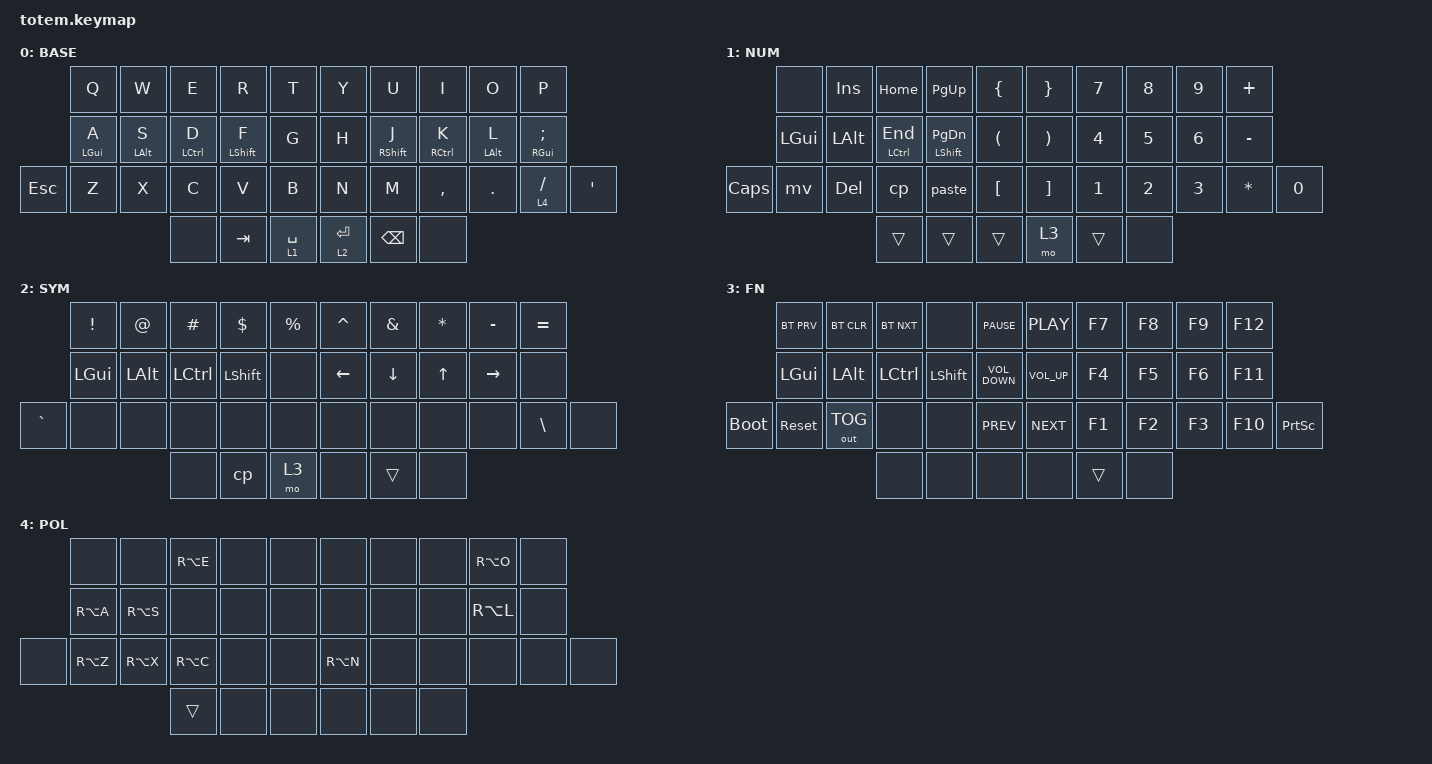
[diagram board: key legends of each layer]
//
//                                                        ▀▀▀▀▀     ▀▀▀▀▀          ▀▀█▀▀
//                                                        ▄▀▀▀▄  ▄  ▄▀▀▀▄  ▄  ▄▀▀▀▄  █  ▄▀▀▀▄
//                                                        █   █  █  █   █  █  █   █  █  █   █
//                                                         ▀▀▀   █   ▀▀▀   █   ▀▀▀   ▀   ▀▀▀
//                                                               █      ▄▄▄█▄▄▄    █   █  
//                                                               ▀      █  █  █     █▄█
//                                                             ▀▀▀▀▀    █  █  █      ▀
//                                                                      ▀  ▀  ▀
//
// ▄▄▄▄▄▄▄▄▄▄▄▄▄▄▄▄▄▄▄▄▄▄▄▄▄▄▄▄▄▄▄▄▄▄▄▄▄▄▄▄▄▄▄▄▄▄▄▄▄▄▄▄▄▄▄▄▄▄▄▄▄▄▄▄▄▄▄▄▄▄▄▄▄▄▄▄▄▄▄▄▄▄▄▄▄▄▄▄▄▄▄▄▄▄▄▄▄▄▄▄▄▄▄▄▄▄▄▄▄▄▄▄▄▄▄▄▄▄▄▄▄▄▄▄▄▄▄▄▄▄▄▄▄▄▄▄▄▄▄▄▄▄▄▄▄▄▄▄▄

#include <behaviors.dtsi>
#include <dt-bindings/zmk/bt.h>
#include <dt-bindings/zmk/keys.h>
#include <dt-bindings/zmk/outputs.h>
#include <dt-bindings/zmk/pointing.h>

#define BASE 0
#define NAV  1
#define SYM  2
#define ADJ  3
#define TVP1 4
#define TVP2 5

&mt {
    quick-tap-ms = <100>;
    global-quick-tap;
    flavor = "tap-preferred";
    tapping-term-ms = <170>;
};

/ {
    combos {
        compatible = "zmk,combos";

        combo_cp {
            timeout-ms = <35>;
            key-positions = <1 2 3>;
            bindings = <&cp>;
            require-prior-idle-ms = <50>;
        };

        combo_paste {
            bindings = <&paste>;
            key-positions = <12 13 11>;
            timeout-ms = <35>;
            require-prior-idle-ms = <50>;
        };

        combo_mv {
            bindings = <&mv>;
            key-positions = <22 23 24>;
            timeout-ms = <35>;
            require-prior-idle-ms = <50>;
        };

        scrl_up {
            bindings = <&msc SCRL_UP>;
            key-positions = <15 16>;
            layers = <3>;
            timeout-ms = <35>;
        };

        scrl_dn {
            bindings = <&msc SCRL_DOWN>;
            key-positions = <14 13>;
            layers = <3>;
            timeout-ms = <35>;
        };
    };

    macros {
        cp: cp {
            label = "COPY";
            compatible = "zmk,behavior-macro";
            #binding-cells = <0>;
            bindings =
                <&macro_press>,
                <&kp LCTRL>,
                <&macro_tap>,
                <&kp C>,
                <&macro_release>,
                <&kp LCTRL>;
        };

        paste: paste {
            compatible = "zmk,behavior-macro";
            label = "PASTE";
            #binding-cells = <0>;
            bindings =
                <&macro_press>,
                <&kp LCTRL>,
                <&macro_tap>,
                <&kp V>,
                <&macro_release>,
                <&kp LCTRL>;
        };

        mv: mv {
            compatible = "zmk,behavior-macro";
            label = "MV";
            #binding-cells = <0>;
            bindings =
                <&macro_press>,
                <&kp LCTRL>,
                <&macro_tap>,
                <&kp X>,
                <&macro_release>,
                <&kp LCTRL>;
        };
    };

    behaviors {
        mt_left: mt_left {
            compatible = "zmk,behavior-hold-tap";
            label = "MT_LEFT";
            bindings = <&kp>, <&kp>;

            #binding-cells = <2>;
            tapping-term-ms = <150>;
            quick-tap-ms = <100>;
            require-prior-idle-ms = <80>;
            flavor = "balanced";
            hold-trigger-on-release;
            hold-trigger-key-positions = <5 6 7 8 9 15 16 17 18 19 26 27 28 29 30 31 36 37 35>;
        };

        mt_right: mt_right {
            compatible = "zmk,behavior-hold-tap";
            label = "MT_RIGHT";
            bindings = <&kp>, <&kp>;

            #binding-cells = <2>;
            tapping-term-ms = <150>;
            quick-tap-ms = <100>;
            require-prior-idle-ms = <80>;
            flavor = "balanced";
            hold-trigger-on-release;
            hold-trigger-key-positions = <34 33 32 0 1 2 3 4 10 11 12 13 14 20 21 22 23 24 25 32 33>;
        };

        lt_left: lt_left {
            compatible = "zmk,behavior-hold-tap";
            label = "LT_LEFT";
            bindings = <&mo>, <&kp>;

            #binding-cells = <2>;
            tapping-term-ms = <150>;
            quick-tap-ms = <100>;
            require-prior-idle-ms = <60>;
            flavor = "balanced";
            hold-trigger-on-release;
            hold-trigger-key-positions = <5 6 7 8 9 15 16 17 18 19 26 27 28 29 30 31 36 37 35>;
        };

        lt_right: lt_right {
            compatible = "zmk,behavior-hold-tap";
            label = "LT_RIGHT";
            bindings = <&mo>, <&kp>;

            #binding-cells = <2>;
            tapping-term-ms = <150>;
            quick-tap-ms = <100>;
            require-prior-idle-ms = <60>;
            flavor = "balanced";
            hold-trigger-on-release;
            hold-trigger-key-positions = <0 1 2 3 4 10 11 12 13 14 20 21 22 23 24 25 32 33 34>;
        };

        mt_left_slow: mt_left_slow {
            compatible = "zmk,behavior-hold-tap";
            label = "MT_LEFT_SLOW";
            bindings = <&kp>, <&kp>;

            #binding-cells = <2>;
            tapping-term-ms = <220>;
            quick-tap-ms = <150>;
            require-prior-idle-ms = <100>;
            flavor = "balanced";
            hold-trigger-on-release;
            hold-trigger-key-positions = <5 6 7 8 9 15 16 17 18 19 26 27 28 29 30 31 36 37 35 33>;
        };

        mt_right_slow: mt_right_slow {
            compatible = "zmk,behavior-hold-tap";
            label = "MT_RIGHT_SLOW";
            bindings = <&kp>, <&kp>;

            #binding-cells = <2>;
            tapping-term-ms = <220>;
            quick-tap-ms = <150>;
            require-prior-idle-ms = <100>;
            flavor = "balanced";
            hold-trigger-on-release;
            hold-trigger-key-positions = <1 2 3 4 14 0 12 13 24 23 22 21 10 20 11 32 33 34 25>;
        };
    };

    keymap {
        compatible = "zmk,keymap";

        // ▄▄▄▄▄▄▄▄▄▄▄▄▄▄▄▄▄▄▄▄▄▄▄▄▄▄▄▄▄▄▄▄▄▄▄▄▄▄▄▄▄▄▄▄▄▄▄▄▄▄▄▄▄▄▄▄▄▄▄▄▄▄▄▄▄▄▄▄▄▄▄▄▄▄▄▄▄▄▄▄▄▄▄▄▄▄▄▄▄▄▄▄▄▄▄▄▄▄▄▄▄▄▄▄▄▄▄▄▄▄▄▄▄▄▄▄▄▄▄▄▄▄▄▄▄▄▄▄▄▄▄▄▄▄▄▄▄▄▄▄▄▄▄▄▄▄▄▄▄

        base_layer {
            // ┏━━━━━━━━━━━━━━━━━━━━━━━━━━━━━━━━━━━━━━━┓

            label = "BASE";

            // ┗━━━━━━━━━━━━━━━━━━━━━━━━━━━━━━━━━━━━━━━┛
            //             ┏━━━━━━━━━━━┳━━━━━━━━━━━┳━━━━━━━━━━━┳━━━━━━━━━━━┳━━━━━━━━━━━┓   ┏━━━━━━━━━━━┳━━━━━━━━━━━┳━━━━━━━━━━━┳━━━━━━━━━━━┳━━━━━━━━━━━┓
            //             ┃     Q     ┃     W     ┃     F     ┃     P     ┃     G     ┃   ┃     J     ┃     L     ┃     U     ┃     Y     ┃     ;     ┃
            //             ┣━━━━━━━━━━━╋━━━━━━━━━━━╋━━━━━━━━━━━╋━━━━━━━━━━━╋━━━━━━━━━━━┫   ┣━━━━━━━━━━━╋━━━━━━━━━━━╋━━━━━━━━━━━╋━━━━━━━━━━━╋━━━━━━━━━━━┫
            //             ┃     A     ┃     R     ┃     S     ┃     T     ┃     D     ┃   ┃     H     ┃     N     ┃     E     ┃     I     ┃     O     ┃
            // ┏━━━━━━━━━━━╋━━━━━━━━━━━╋━━━━━━━━━━━╋━━━━━━━━━━━╋━━━━━━━━━━━╋━━━━━━━━━━━┫   ┣━━━━━━━━━━━╋━━━━━━━━━━━╋━━━━━━━━━━━╋━━━━━━━━━━━╋━━━━━━━━━━━╋━━━━━━━━━━━┓
            // ┃     Q     ┃     Z     ┃     X     ┃     C     ┃     V     ┃     B     ┃   ┃     K     ┃     M     ┃     ,     ┃     .     ┃     /     ┃     \     ┃
            // ┗━━━━━━━━━━━┻━━━━━━━━━━━┻━━━━━━━━━━━╋━━━━━━━━━━━╋━━━━━━━━━━━╋━━━━━━━━━━━┫   ┣━━━━━━━━━━━╋━━━━━━━━━━━╋━━━━━━━━━━━╋━━━━━━━━━━━┻━━━━━━━━━━━┻━━━━━━━━━━━┛
            //                                     ┃    DEL    ┃    TAB    ┃    SPC    ┃   ┃   ENTER   ┃           ┃   BSPC    ┃
            //                                     ┗━━━━━━━━━━━┻━━━━━━━━━━━┻━━━━━━━━━━━┛   ┗━━━━━━━━━━━┻━━━━━━━━━━━┻━━━━━━━━━━━┛

            bindings = <
         &kp Q                 &kp W                 &kp E             &kp R             &kp T               &kp Y            &kp U              &kp I              &kp O                  &kp P
         &mt_left_slow LGUI A  &mt_left_slow LALT S  &mt_left LCTRL D  &mt_left LSHFT F  &kp G               &kp H            &mt_right RSHFT J  &mt_right RCTRL K  &mt_right_slow LALT L  &mt_right_slow RGUI SEMICOLON
&kp ESC  &kp Z                 &kp X                 &kp C             &kp V             &kp B               &kp N            &kp M              &kp COMMA          &kp DOT                &lt_right 4 SLASH              &kp SQT
                                                     &none             &kp TAB           &lt_left 1 SPACE    &lt_right 2 RET  &kp BACKSPACE      &none
            >;
        };

        // ▄▄▄▄▄▄▄▄▄▄▄▄▄▄▄▄▄▄▄▄▄▄▄▄▄▄▄▄▄▄▄▄▄▄▄▄▄▄▄▄▄▄▄▄▄▄▄▄▄▄▄▄▄▄▄▄▄▄▄▄▄▄▄▄▄▄▄▄▄▄▄▄▄▄▄▄▄▄▄▄▄▄▄▄▄▄▄▄▄▄▄▄▄▄▄▄▄▄▄▄▄▄▄▄▄▄▄▄▄▄▄▄▄▄▄▄▄▄▄▄▄▄▄▄▄▄▄▄▄▄▄▄▄▄▄▄▄▄▄▄▄▄▄▄▄▄▄▄▄

        num_layer {
            // ┏━━━━━━━━━━━━━━━━━━━━━━━━━━━━━━━━━━━━━━━┓

            label = "NUM";

            // ┗━━━━━━━━━━━━━━━━━━━━━━━━━━━━━━━━━━━━━━━┛
            //             ┏━━━━━━━━━━━┳━━━━━━━━━━━┳━━━━━━━━━━━┳━━━━━━━━━━━┳━━━━━━━━━━━┓   ┏━━━━━━━━━━━┳━━━━━━━━━━━┳━━━━━━━━━━━┳━━━━━━━━━━━┳━━━━━━━━━━━┓
            //             ┃           ┃           ┃     UP    ┃           ┃     {     ┃   ┃     }     ┃     7     ┃     8     ┃     9     ┃     +     ┃
            //             ┣━━━━━━━━━━━╋━━━━━━━━━━━╋━━━━━━━━━━━╋━━━━━━━━━━━╋━━━━━━━━━━━┫   ┣━━━━━━━━━━━╋━━━━━━━━━━━╋━━━━━━━━━━━╋━━━━━━━━━━━╋━━━━━━━━━━━┫
            //             ┃   SHIFT   ┃   LEFT    ┃    DOWN   ┃   RIGHT   ┃     [     ┃   ┃     ]     ┃     4     ┃     5     ┃     6     ┃     -     ┃
            // ┏━━━━━━━━━━━╋━━━━━━━━━━━╋━━━━━━━━━━━╋━━━━━━━━━━━╋━━━━━━━━━━━╋━━━━━━━━━━━┫   ┣━━━━━━━━━━━╋━━━━━━━━━━━╋━━━━━━━━━━━╋━━━━━━━━━━━╋━━━━━━━━━━━╋━━━━━━━━━━━┓
            // ┃           ┃           ┃   P UP    ┃  C LOCK   ┃  P DOWN   ┃     (     ┃   ┃     )     ┃     1     ┃     2     ┃     3     ┃     *     ┃           ┃
            // ┗━━━━━━━━━━━┻━━━━━━━━━━━┻━━━━━━━━━━━╋━━━━━━━━━━━╋━━━━━━━━━━━╋━━━━━━━━━━━┫   ┣━━━━━━━━━━━╋━━━━━━━━━━━╋━━━━━━━━━━━╋━━━━━━━━━━━┻━━━━━━━━━━━┻━━━━━━━━━━━┛
            //                                     ┃           ┃    TAB    ┃    SPC    ┃   ┃    DEL    ┃     0     ┃           ┃
            //                                     ┗━━━━━━━━━━━┻━━━━━━━━━━━┻━━━━━━━━━━━┛   ┗━━━━━━━━━━━┻━━━━━━━━━━━┻━━━━━━━━━━━┛

            bindings = <
          &none     &kp INS   &kp HOME            &kp PG_UP                 &kp LBRC    &kp RBRC  &kp N7  &kp N8  &kp N9  &kp PLUS
          &kp LGUI  &kp LALT  &mt_left LCTRL END  &mt_left LSHFT PAGE_DOWN  &kp LPAR    &kp RPAR  &kp N4  &kp N5  &kp N6  &kp MINUS
&kp CAPS  &mv       &kp DEL   &cp                 &paste                    &kp LBKT    &kp RBKT  &kp N1  &kp N2  &kp N3  &kp ASTERISK  &kp N0
                              &trans              &trans                    &trans      &mo 3     &trans  &none
            >;
        };

        // ▄▄▄▄▄▄▄▄▄▄▄▄▄▄▄▄▄▄▄▄▄▄▄▄▄▄▄▄▄▄▄▄▄▄▄▄▄▄▄▄▄▄▄▄▄▄▄▄▄▄▄▄▄▄▄▄▄▄▄▄▄▄▄▄▄▄▄▄▄▄▄▄▄▄▄▄▄▄▄▄▄▄▄▄▄▄▄▄▄▄▄▄▄▄▄▄▄▄▄▄▄▄▄▄▄▄▄▄▄▄▄▄▄▄▄▄▄▄▄▄▄▄▄▄▄▄▄▄▄▄▄▄▄▄▄▄▄▄▄▄▄▄▄▄▄▄▄▄▄

        sim_layer {
            // ┏━━━━━━━━━━━━━━━━━━━━━━━━━━━━━━━━━━━━━━━┓

            label = "SYM";

            // ┗━━━━━━━━━━━━━━━━━━━━━━━━━━━━━━━━━━━━━━━┛
            //             ┏━━━━━━━━━━━┳━━━━━━━━━━━┳━━━━━━━━━━━┳━━━━━━━━━━━┳━━━━━━━━━━━┓   ┏━━━━━━━━━━━┳━━━━━━━━━━━┳━━━━━━━━━━━┳━━━━━━━━━━━┳━━━━━━━━━━━┓
            //             ┃     !     ┃     @     ┃     #     ┃     $     ┃     %     ┃   ┃     ˆ     ┃     &     ┃     Ü     ┃     '     ┃     "     ┃
            //             ┣━━━━━━━━━━━╋━━━━━━━━━━━╋━━━━━━━━━━━╋━━━━━━━━━━━╋━━━━━━━━━━━┫   ┣━━━━━━━━━━━╋━━━━━━━━━━━╋━━━━━━━━━━━╋━━━━━━━━━━━╋━━━━━━━━━━━┫
            //             ┃     Ä     ┃           ┃    SZ     ┃           ┃           ┃   ┃   MUTE    ┃   YEN     ┃   EURO    ┃  POUND    ┃     Ö     ┃
            // ┏━━━━━━━━━━━╋━━━━━━━━━━━╋━━━━━━━━━━━╋━━━━━━━━━━━╋━━━━━━━━━━━╋━━━━━━━━━━━┫   ┣━━━━━━━━━━━╋━━━━━━━━━━━╋━━━━━━━━━━━╋━━━━━━━━━━━╋━━━━━━━━━━━╋━━━━━━━━━━━┓
            // ┃           ┃  EMAIL1   ┃  EMAIL2   ┃           ┃           ┃           ┃   ┃   VOL-    ┃   VOL+    ┃   LAST    ┃   NEXT    ┃     \     ┃           ┃
            // ┗━━━━━━━━━━━┻━━━━━━━━━━━┻━━━━━━━━━━━╋━━━━━━━━━━━╋━━━━━━━━━━━╋━━━━━━━━━━━┫   ┣━━━━━━━━━━━╋━━━━━━━━━━━╋━━━━━━━━━━━╋━━━━━━━━━━━┻━━━━━━━━━━━┻━━━━━━━━━━━┛
            //                                     ┃           ┃    GIF    ┃    ADJ    ┃   ┃           ┃           ┃           ┃
            //                                     ┗━━━━━━━━━━━┻━━━━━━━━━━━┻━━━━━━━━━━━┛   ┗━━━━━━━━━━━┻━━━━━━━━━━━┻━━━━━━━━━━━┛

            bindings = <
           &kp EXCL      &kp AT    &kp HASH   &kp DLLR   &kp PRCNT    &kp CARET  &kp AMPS  &kp ASTERISK  &kp MINUS  &kp EQUAL
           &kp LEFT_GUI  &kp LALT  &kp LCTRL  &kp LSHFT  &none        &kp LEFT   &kp DOWN  &kp UP        &kp RIGHT  &none
&kp GRAVE  &none         &none     &none      &none      &none        &none      &none     &none         &none      &kp BSLH   &none
                                   &none      &cp        &mo 3        &none      &trans    &none
            >;
        };

        // ▄▄▄▄▄▄▄▄▄▄▄▄▄▄▄▄▄▄▄▄▄▄▄▄▄▄▄▄▄▄▄▄▄▄▄▄▄▄▄▄▄▄▄▄▄▄▄▄▄▄▄▄▄▄▄▄▄▄▄▄▄▄▄▄▄▄▄▄▄▄▄▄▄▄▄▄▄▄▄▄▄▄▄▄▄▄▄▄▄▄▄▄▄▄▄▄▄▄▄▄▄▄▄▄▄▄▄▄▄▄▄▄▄▄▄▄▄▄▄▄▄▄▄▄▄▄▄▄▄▄▄▄▄▄▄▄▄▄▄▄▄▄▄▄▄▄▄▄▄

        func_layer {
            // ┏━━━━━━━━━━━━━━━━━━━━━━━━━━━━━━━━━━━━━━━┓

            label = "FN";

            // ┗━━━━━━━━━━━━━━━━━━━━━━━━━━━━━━━━━━━━━━━┛
            //             ┏━━━━━━━━━━━┳━━━━━━━━━━━┳━━━━━━━━━━━┳━━━━━━━━━━━┳━━━━━━━━━━━┓   ┏━━━━━━━━━━━┳━━━━━━━━━━━┳━━━━━━━━━━━┳━━━━━━━━━━━┳━━━━━━━━━━━┓
            //             ┃   RESET   ┃ BT CLEAR  ┃  OUT TOG  ┃           ┃           ┃   ┃           ┃    F7     ┃    F8     ┃    F9     ┃    F12    ┃
            //             ┣━━━━━━━━━━━╋━━━━━━━━━━━╋━━━━━━━━━━━╋━━━━━━━━━━━╋━━━━━━━━━━━┫   ┣━━━━━━━━━━━╋━━━━━━━━━━━╋━━━━━━━━━━━╋━━━━━━━━━━━╋━━━━━━━━━━━┫
            //             ┃ BOOTLOAD  ┃ BT NEXT   ┃           ┃           ┃           ┃   ┃           ┃    F4     ┃    F5     ┃    F6     ┃    F11    ┃
            // ┏━━━━━━━━━━━╋━━━━━━━━━━━╋━━━━━━━━━━━╋━━━━━━━━━━━╋━━━━━━━━━━━╋━━━━━━━━━━━┫   ┣━━━━━━━━━━━╋━━━━━━━━━━━╋━━━━━━━━━━━╋━━━━━━━━━━━╋━━━━━━━━━━━╋━━━━━━━━━━━┓
            // ┃           ┃           ┃ BT PREV   ┃           ┃           ┃           ┃   ┃           ┃    F1     ┃    F2     ┃    F3     ┃    F10    ┃           ┃
            // ┗━━━━━━━━━━━┻━━━━━━━━━━━┻━━━━━━━━━━━╋━━━━━━━━━━━╋━━━━━━━━━━━╋━━━━━━━━━━━┫   ┣━━━━━━━━━━━╋━━━━━━━━━━━╋━━━━━━━━━━━╋━━━━━━━━━━━┻━━━━━━━━━━━┻━━━━━━━━━━━┛
            //                                     ┃           ┃           ┃           ┃   ┃           ┃           ┃           ┃
            //                                     ┗━━━━━━━━━━━┻━━━━━━━━━━━┻━━━━━━━━━━━┛   ┗━━━━━━━━━━━┻━━━━━━━━━━━┻━━━━━━━━━━━┛

            bindings = <
             &bt BT_PRV  &bt BT_CLR    &bt BT_NXT  &none      &kp C_PAUSE          &kp C_PLAY       &kp F7  &kp F8  &kp F9  &kp F12
             &kp LGUI    &kp LALT      &kp LCTRL   &kp LSHFT  &kp C_VOLUME_DOWN    &kp C_VOLUME_UP  &kp F4  &kp F5  &kp F6  &kp F11
&bootloader  &sys_reset  &out OUT_TOG  &none       &none      &kp C_PREV           &kp C_NEXT       &kp F1  &kp F2  &kp F3  &kp F10  &kp PRINTSCREEN
                                       &none       &none      &none                &none            &trans  &none
            >;
        };

        // ▄▄▄▄▄▄▄▄▄▄▄▄▄▄▄▄▄▄▄▄▄▄▄▄▄▄▄▄▄▄▄▄▄▄▄▄▄▄▄▄▄▄▄▄▄▄▄▄▄▄▄▄▄▄▄▄▄▄▄▄▄▄▄▄▄▄▄▄▄▄▄▄▄▄▄▄▄▄▄▄▄▄▄▄▄▄▄▄▄▄▄▄▄▄▄▄▄▄▄▄▄▄▄▄▄▄▄▄▄▄▄▄▄▄▄▄▄▄▄▄▄▄▄▄▄▄▄▄▄▄▄▄▄▄▄▄▄▄▄▄▄▄▄▄▄▄▄▄▄

        polish_layer {
            // ┏━━━━━━━━━━━━━━━━━━━━━━━━━━━━━━━━━━━━━━━┓

            label = "POL";

            // ┗━━━━━━━━━━━━━━━━━━━━━━━━━━━━━━━━━━━━━━━┛
            //             ┏━━━━━━━━━━━┳━━━━━━━━━━━┳━━━━━━━━━━━┳━━━━━━━━━━━┳━━━━━━━━━━━┓   ┏━━━━━━━━━━━┳━━━━━━━━━━━┳━━━━━━━━━━━┳━━━━━━━━━━━┳━━━━━━━━━━━┓
            //             ┃ NEXT FILE ┃ MARK IN   ┃ ROTATE    ┃ MARK OUT  ┃ SHOW SNAP ┃   ┃           ┃           ┃           ┃           ┃           ┃
            //             ┣━━━━━━━━━━━╋━━━━━━━━━━━╋━━━━━━━━━━━╋━━━━━━━━━━━╋━━━━━━━━━━━┫   ┣━━━━━━━━━━━╋━━━━━━━━━━━╋━━━━━━━━━━━╋━━━━━━━━━━━╋━━━━━━━━━━━┫
            //             ┃ TVP II    ┃ LEFT      ┃ PAN       ┃ RIGHT     ┃ PLAY/FLIP ┃   ┃           ┃           ┃           ┃           ┃           ┃
            // ┏━━━━━━━━━━━╋━━━━━━━━━━━╋━━━━━━━━━━━╋━━━━━━━━━━━╋━━━━━━━━━━━╋━━━━━━━━━━━┫   ┣━━━━━━━━━━━╋━━━━━━━━━━━╋━━━━━━━━━━━╋━━━━━━━━━━━╋━━━━━━━━━━━╋━━━━━━━━━━━┓
            // ┃ FULLSCR   ┃ SHIFT     ┃ COPY      ┃ DELETE    ┃ PASTE     ┃ IMG MARK  ┃   ┃           ┃           ┃           ┃           ┃           ┃           ┃
            // ┗━━━━━━━━━━━┻━━━━━━━━━━━┻━━━━━━━━━━━╋━━━━━━━━━━━╋━━━━━━━━━━━╋━━━━━━━━━━━┫   ┣━━━━━━━━━━━╋━━━━━━━━━━━╋━━━━━━━━━━━╋━━━━━━━━━━━┻━━━━━━━━━━━┻━━━━━━━━━━━┛
            //                                     ┃           ┃ UNDO/SAVE ┃  SEL/MOV  ┃   ┃           ┃           ┃           ┃
            //                                     ┗━━━━━━━━━━━┻━━━━━━━━━━━┻━━━━━━━━━━━┛   ┗━━━━━━━━━━━┻━━━━━━━━━━━┻━━━━━━━━━━━┛

            bindings = <
       &none      &none      &kp RA(E)  &none  &none    &none      &none  &none  &kp RA(O)  &none
       &kp RA(A)  &kp RA(S)  &none      &none  &none    &none      &none  &none  &kp RA(L)  &none
&none  &kp RA(Z)  &kp RA(X)  &kp RA(C)  &none  &none    &kp RA(N)  &none  &none  &none      &none  &none
                             &trans     &none  &none    &none      &none  &none
            >;
        };

        // ▄▄▄▄▄▄▄▄▄▄▄▄▄▄▄▄▄▄▄▄▄▄▄▄▄▄▄▄▄▄▄▄▄▄▄▄▄▄▄▄▄▄▄▄▄▄▄▄▄▄▄▄▄▄▄▄▄▄▄▄▄▄▄▄▄▄▄▄▄▄▄▄▄▄▄▄▄▄▄▄▄▄▄▄▄▄▄▄▄▄▄▄▄▄▄▄▄▄▄▄▄▄▄▄▄▄▄▄▄▄▄▄▄▄▄▄▄▄▄▄▄▄▄▄▄▄▄▄▄▄▄▄▄▄▄▄▄▄▄▄▄▄▄▄▄▄▄▄▄
    };
};
